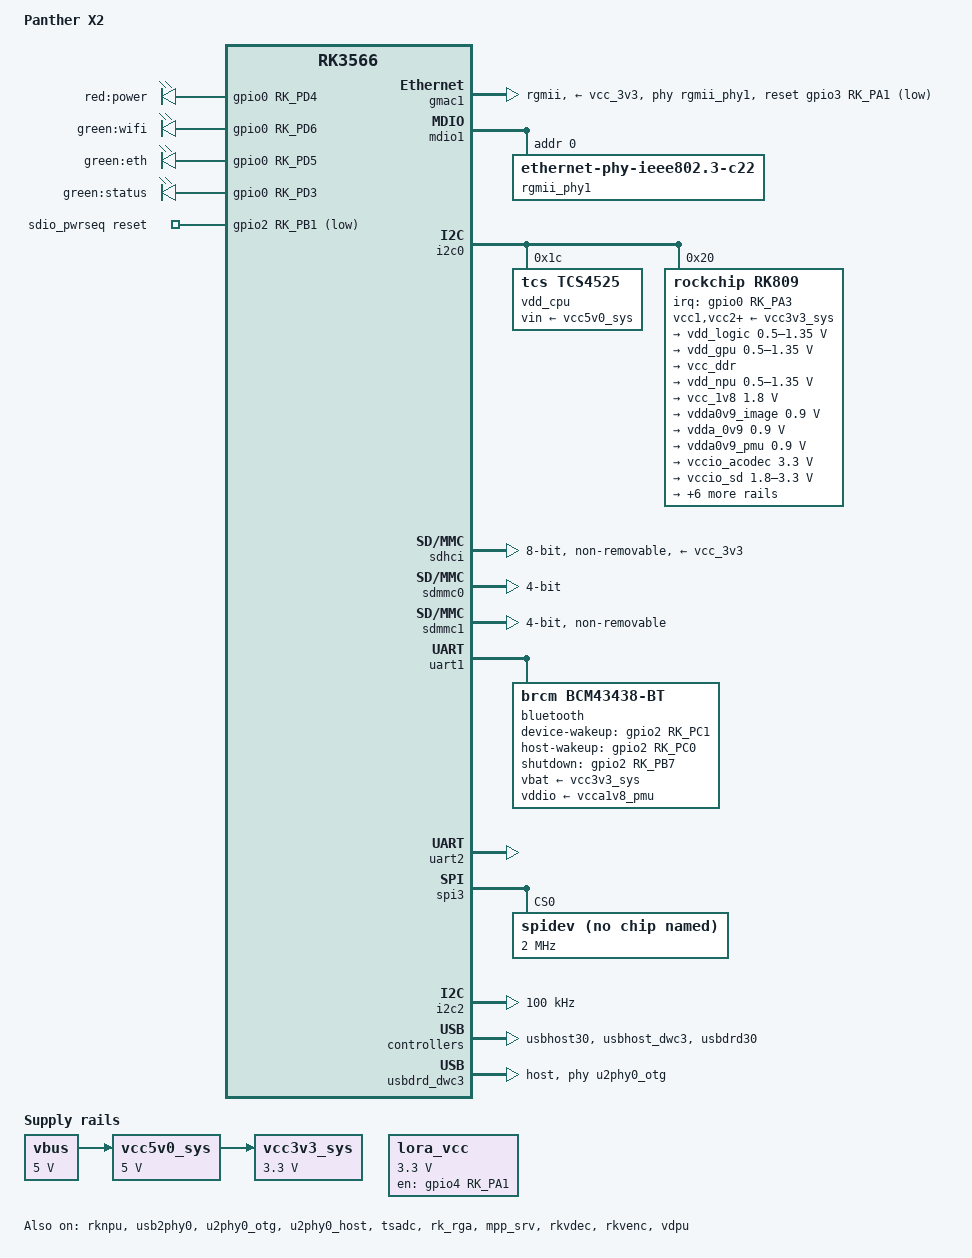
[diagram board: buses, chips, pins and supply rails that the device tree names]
// SPDX-License-Identifier: (GPL-2.0+ OR MIT)
/*
 * Panther X2 (Rockchip RK3566)
 *
 * Board description written against the Rockchip 5.10 BSP SoC bindings,
 * because the drivers backported into this 5.4 kernel are taken from that
 * BSP (vendor clock IDs, vendor pinctrl group names, RK3568 GRF offsets).
 * The mainline/armbian board file was used as the reference for the board
 * wiring (regulators, LEDs, SD, GMAC1, PMIC), and the GMAC1 numbers
 * (phy-mode/tx_delay/rx_delay) are the ones the vendor firmware actually
 * runs on this board.
 */

/dts-v1/;

#include <dt-bindings/gpio/gpio.h>
#include <dt-bindings/pinctrl/rockchip.h>
#include <dt-bindings/interrupt-controller/arm-gic.h>

#include "rk3566.dtsi"

/ {
	model = "Panther X2";
	compatible = "panther,x2", "rockchip,rk3566";

	aliases {
		/*
		 * Same mapping as the firmware that actually runs on this
		 * board: mmc0 = micro SD (sdmmc0), mmc1 = on-board eMMC
		 * (sdhci), mmc2 = WiFi SDIO (sdmmc1).  The eMMC therefore
		 * shows up as /dev/mmcblk1, which is what this box's current
		 * image uses for /boot (p1) and the rootfs (p2).
		 */
		mmc0 = &sdmmc0;
		mmc1 = &sdhci;
		mmc2 = &sdmmc1;
		serial2 = &uart2;
		/*
		 * gmac0/gmac1 keep their vendor aliases: the dwmac-rk glue
		 * derives its bus id from the "ethernet" alias and uses it to
		 * pick RK3568_GRF_GMAC1_* over RK3568_GRF_GMAC0_*.
		 */
		/delete-property/ ethernet0;
		/delete-property/ ethernet1;
		ethernet1 = &gmac1;

		led-boot = &led_status;
		led-failsafe = &led_status;
		led-running = &led_status;
		led-upgrade = &led_status;
	};

	chosen {
		stdout-path = "serial2:1500000n8";
	};

	leds {
		compatible = "gpio-leds";
		pinctrl-names = "default";
		pinctrl-0 = <&led_pwr_en>, <&led_wifi_en>,
			    <&led_eth_en>, <&led_status_en>;

		led_pwr: pwr {
			label = "red:power";
			gpios = <&gpio0 RK_PD4 GPIO_ACTIVE_HIGH>;
			default-state = "on";
		};

		led_wifi: wifi {
			label = "green:wifi";
			gpios = <&gpio0 RK_PD6 GPIO_ACTIVE_HIGH>;
		};

		led_eth: eth {
			label = "green:eth";
			gpios = <&gpio0 RK_PD5 GPIO_ACTIVE_HIGH>;
		};

		led_status: status {
			label = "green:status";
			gpios = <&gpio0 RK_PD3 GPIO_ACTIVE_HIGH>;
			linux,default-trigger = "heartbeat";
		};
	};

	vbus: vbus-regulator {
		compatible = "regulator-fixed";
		regulator-name = "vbus";
		regulator-always-on;
		regulator-boot-on;
		regulator-min-microvolt = <5000000>;
		regulator-max-microvolt = <5000000>;
	};

	vcc5v0_sys: vcc5v0-sys-regulator {
		compatible = "regulator-fixed";
		regulator-name = "vcc5v0_sys";
		regulator-always-on;
		regulator-boot-on;
		regulator-min-microvolt = <5000000>;
		regulator-max-microvolt = <5000000>;
		vin-supply = <&vbus>;
	};

	vcc3v3_sys: vcc3v3-sys-regulator {
		compatible = "regulator-fixed";
		regulator-name = "vcc3v3_sys";
		regulator-always-on;
		regulator-boot-on;
		regulator-min-microvolt = <3300000>;
		regulator-max-microvolt = <3300000>;
		vin-supply = <&vcc5v0_sys>;
	};

	sdio_pwrseq: sdio-pwrseq {
		compatible = "mmc-pwrseq-simple";
		clocks = <&rk809 1>;
		clock-names = "ext_clock";
		pinctrl-names = "default";
		pinctrl-0 = <&wifi_enable_h>;
		reset-gpios = <&gpio2 RK_PB1 GPIO_ACTIVE_LOW>;
		post-power-on-delay-ms = <100>;
	};
};

&cpu0 {
	cpu-supply = <&vdd_cpu>;
};

&cpu1 {
	cpu-supply = <&vdd_cpu>;
};

&cpu2 {
	cpu-supply = <&vdd_cpu>;
};

&cpu3 {
	cpu-supply = <&vdd_cpu>;
};

&gmac1 {
	/*
	 * Same combination the vendor firmware runs: the SoC applies both
	 * the TX and the RX delay (phy-mode "rgmii" keeps the RTL8211F's own
	 * delay programming out of the picture).
	 */
	phy-mode = "rgmii";
	clock_in_out = "input";
	assigned-clocks = <&cru SCLK_GMAC1_RX_TX>, <&cru SCLK_GMAC1_RGMII_SPEED>, <&cru SCLK_GMAC1>;
	assigned-clock-parents = <&cru SCLK_GMAC1_RGMII_SPEED>, <&cru SCLK_GMAC1>, <&gmac1_clkin>;
	phy-supply = <&vcc_3v3>;
	pinctrl-names = "default";
	pinctrl-0 = <&gmac1m0_miim
		     &gmac1m0_tx_bus2
		     &gmac1m0_rx_bus2
		     &gmac1m0_rgmii_clk
		     &gmac1m0_clkinout
		     &gmac1m0_rgmii_bus>;
	snps,reset-gpio = <&gpio3 RK_PA1 GPIO_ACTIVE_LOW>;
	snps,reset-active-low;
	/* Reset time is 20ms, 100ms for rtl8211f */
	snps,reset-delays-us = <0 20000 100000>;
	tx_delay = <0x30>;
	rx_delay = <0x10>;
	phy-handle = <&rgmii_phy1>;
	status = "okay";
};

&mdio1 {
	rgmii_phy1: ethernet-phy@0 {
		compatible = "ethernet-phy-ieee802.3-c22";
		reg = <0>;
	};
};

&i2c0 {
	status = "okay";

	vdd_cpu: regulator@1c {
		compatible = "tcs,tcs4525";
		reg = <0x1c>;
		fcs,suspend-voltage-selector = <1>;
		regulator-name = "vdd_cpu";
		regulator-min-microvolt = <800000>;
		regulator-max-microvolt = <1150000>;
		regulator-ramp-delay = <2300>;
		regulator-always-on;
		regulator-boot-on;
		vin-supply = <&vcc5v0_sys>;

		regulator-state-mem {
			regulator-off-in-suspend;
		};
	};

	rk809: pmic@20 {
		compatible = "rockchip,rk809";
		reg = <0x20>;
		interrupt-parent = <&gpio0>;
		interrupts = <RK_PA3 IRQ_TYPE_LEVEL_LOW>;
		#clock-cells = <1>;
		clock-output-names = "rk808-clkout1", "rk808-clkout2";
		pinctrl-names = "default";
		pinctrl-0 = <&pmic_int_l>;
		rockchip,system-power-controller;
		wakeup-source;

		vcc1-supply = <&vcc3v3_sys>;
		vcc2-supply = <&vcc3v3_sys>;
		vcc3-supply = <&vcc3v3_sys>;
		vcc4-supply = <&vcc3v3_sys>;
		vcc5-supply = <&vcc3v3_sys>;
		vcc6-supply = <&vcc3v3_sys>;
		vcc7-supply = <&vcc3v3_sys>;
		vcc8-supply = <&vcc3v3_sys>;
		vcc9-supply = <&vcc3v3_sys>;

		regulators {
			vdd_logic: DCDC_REG1 {
				regulator-name = "vdd_logic";
				regulator-always-on;
				regulator-boot-on;
				regulator-min-microvolt = <500000>;
				regulator-max-microvolt = <1350000>;
				regulator-init-microvolt = <900000>;
				regulator-ramp-delay = <6001>;
				regulator-initial-mode = <0x2>;

				regulator-state-mem {
					regulator-on-in-suspend;
					regulator-suspend-microvolt = <900000>;
				};
			};

			vdd_gpu: DCDC_REG2 {
				regulator-name = "vdd_gpu";
				regulator-always-on;
				regulator-boot-on;
				regulator-min-microvolt = <500000>;
				regulator-max-microvolt = <1350000>;
				regulator-init-microvolt = <900000>;
				regulator-ramp-delay = <6001>;
				regulator-initial-mode = <0x2>;

				regulator-state-mem {
					regulator-off-in-suspend;
				};
			};

			vcc_ddr: DCDC_REG3 {
				regulator-name = "vcc_ddr";
				regulator-always-on;
				regulator-boot-on;
				regulator-initial-mode = <0x2>;

				regulator-state-mem {
					regulator-on-in-suspend;
				};
			};

			vdd_npu: DCDC_REG4 {
				regulator-name = "vdd_npu";
				regulator-always-on;
				regulator-boot-on;
				regulator-min-microvolt = <500000>;
				regulator-max-microvolt = <1350000>;
				regulator-init-microvolt = <900000>;
				regulator-initial-mode = <0x2>;

				regulator-state-mem {
					regulator-off-in-suspend;
				};
			};

			vcc_1v8: DCDC_REG5 {
				regulator-name = "vcc_1v8";
				regulator-always-on;
				regulator-boot-on;
				regulator-min-microvolt = <1800000>;
				regulator-max-microvolt = <1800000>;

				regulator-state-mem {
					regulator-on-in-suspend;
					regulator-suspend-microvolt = <1800000>;
				};
			};

			vdda0v9_image: LDO_REG1 {
				regulator-name = "vdda0v9_image";
				regulator-always-on;
				regulator-boot-on;
				regulator-min-microvolt = <900000>;
				regulator-max-microvolt = <900000>;

				regulator-state-mem {
					regulator-on-in-suspend;
					regulator-suspend-microvolt = <900000>;
				};
			};

			vdda_0v9: LDO_REG2 {
				regulator-name = "vdda_0v9";
				regulator-always-on;
				regulator-boot-on;
				regulator-min-microvolt = <900000>;
				regulator-max-microvolt = <900000>;

				regulator-state-mem {
					regulator-off-in-suspend;
				};
			};

			vdda0v9_pmu: LDO_REG3 {
				regulator-name = "vdda0v9_pmu";
				regulator-always-on;
				regulator-boot-on;
				regulator-min-microvolt = <900000>;
				regulator-max-microvolt = <900000>;

				regulator-state-mem {
					regulator-on-in-suspend;
					regulator-suspend-microvolt = <900000>;
				};
			};

			vccio_acodec: LDO_REG4 {
				regulator-name = "vccio_acodec";
				regulator-always-on;
				regulator-boot-on;
				regulator-min-microvolt = <3300000>;
				regulator-max-microvolt = <3300000>;

				regulator-state-mem {
					regulator-off-in-suspend;
				};
			};

			vccio_sd: LDO_REG5 {
				regulator-name = "vccio_sd";
				regulator-always-on;
				regulator-boot-on;
				regulator-min-microvolt = <1800000>;
				regulator-max-microvolt = <3300000>;

				regulator-state-mem {
					regulator-off-in-suspend;
				};
			};

			vcc3v3_pmu: LDO_REG6 {
				regulator-name = "vcc3v3_pmu";
				regulator-always-on;
				regulator-boot-on;
				regulator-min-microvolt = <3300000>;
				regulator-max-microvolt = <3300000>;

				regulator-state-mem {
					regulator-on-in-suspend;
					regulator-suspend-microvolt = <3300000>;
				};
			};

			vcca_1v8: LDO_REG7 {
				regulator-name = "vcca_1v8";
				regulator-always-on;
				regulator-boot-on;
				regulator-min-microvolt = <1800000>;
				regulator-max-microvolt = <1800000>;

				regulator-state-mem {
					regulator-off-in-suspend;
				};
			};

			vcca1v8_pmu: LDO_REG8 {
				regulator-name = "vcca1v8_pmu";
				regulator-always-on;
				regulator-boot-on;
				regulator-min-microvolt = <1800000>;
				regulator-max-microvolt = <1800000>;

				regulator-state-mem {
					regulator-off-in-suspend;
				};
			};

			vcca1v8_image: LDO_REG9 {
				regulator-name = "vcca1v8_image";
				regulator-always-on;
				regulator-boot-on;
				regulator-min-microvolt = <1800000>;
				regulator-max-microvolt = <1800000>;

				regulator-state-mem {
					regulator-off-in-suspend;
				};
			};

			vcc_3v3: SWITCH_REG1 {
				regulator-name = "vcc_3v3";
				regulator-always-on;
				regulator-boot-on;

				regulator-state-mem {
					regulator-off-in-suspend;
				};
			};

			vcc3v3_sd: SWITCH_REG2 {
				regulator-name = "vcc3v3_sd";
				status = "disabled";

				regulator-state-mem {
					regulator-on-in-suspend;
				};
			};
		};
	};
};

&pinctrl {
	sdio-pwrseq {
		wifi_enable_h: wifi-enable-h {
			rockchip,pins = <2 RK_PB1 RK_FUNC_GPIO &pcfg_pull_none>;
		};
	};

	leds {
		led_pwr_en: led-pwr-en {
			rockchip,pins = <0 RK_PD4 RK_FUNC_GPIO &pcfg_pull_none>;
		};

		led_wifi_en: led-wifi-en {
			rockchip,pins = <0 RK_PD6 RK_FUNC_GPIO &pcfg_pull_none>;
		};

		led_eth_en: led-eth-en {
			rockchip,pins = <0 RK_PD5 RK_FUNC_GPIO &pcfg_pull_none>;
		};

		led_status_en: led-status-en {
			rockchip,pins = <0 RK_PD3 RK_FUNC_GPIO &pcfg_pull_none>;
		};
	};

	pmic {
		pmic_int_l: pmic-int-l {
			rockchip,pins = <0 RK_PA3 RK_FUNC_GPIO &pcfg_pull_up>;
		};
	};

	bt {
		bt_enable_h: bt-enable-h {
			rockchip,pins = <2 RK_PB7 RK_FUNC_GPIO &pcfg_pull_none>;
		};

		bt_host_wake_l: bt-host-wake-l {
			rockchip,pins = <2 RK_PC0 RK_FUNC_GPIO &pcfg_pull_none>;
		};

		bt_wake_l: bt-wake-l {
			rockchip,pins = <2 RK_PC1 RK_FUNC_GPIO &pcfg_pull_none>;
		};
	};
};

&pmu_io_domains {
	status = "okay";
	pmuio1-supply = <&vcc3v3_pmu>;
	pmuio2-supply = <&vcc3v3_pmu>;
	vccio1-supply = <&vcc_3v3>;
	vccio2-supply = <&vcc_1v8>;
	vccio3-supply = <&vccio_sd>;
	vccio4-supply = <&vcc_1v8>;
	vccio5-supply = <&vcc_3v3>;
	vccio6-supply = <&vcc_3v3>;
	vccio7-supply = <&vcc_3v3>;
};

&sdhci {
	bus-width = <8>;
	no-sd;
	no-sdio;
	non-removable;
	mmc-hs200-1_8v;
	vmmc-supply = <&vcc_3v3>;
	vqmmc-supply = <&vcc_1v8>;
	status = "okay";
};

&sdmmc0 {
	/*
	 * The microSD slot works as a card slot - firmware must keep it enabled,
	 * because the same image also runs on boards whose slot is fine.  On this
	 * particular unit the slot itself is dead (the card reads fine in a USB
	 * reader, yet the slot never answers; U-Boot and Linux both report "Card
	 * did not respond to voltage select"), so no card is ever detected here,
	 * but nothing about that justifies disabling the controller.
	 *
	 * broken-cd because no card-detect pin is wired: the kernel polls.
	 */
	broken-cd;
	bus-width = <4>;
	cap-sd-highspeed;
	disable-wp;
	pinctrl-names = "default";
	pinctrl-0 = <&sdmmc0_bus4 &sdmmc0_clk &sdmmc0_cmd &sdmmc0_det>;
	vqmmc-supply = <&vccio_sd>;
	status = "okay";
};

&sdmmc1 {
	bus-width = <4>;
	cap-sd-highspeed;
	cap-sdio-irq;
	keep-power-in-suspend;
	disable-wp;
	non-removable;
	mmc-pwrseq = <&sdio_pwrseq>;
	pinctrl-names = "default";
	pinctrl-0 = <&sdmmc1_bus4 &sdmmc1_clk &sdmmc1_cmd>;
	status = "okay";
};

&uart1 {
	pinctrl-names = "default";
	pinctrl-0 = <&uart1m0_xfer &uart1m0_ctsn &uart1m0_rtsn>;
	status = "okay";

	/*
	 * AP6212A1 module: BCM43430A1 on UART1 with the usual flow control and
	 * wake lines.  Only hci_bcm.c matches this compatible, so the kernel
	 * needs CONFIG_BT_HCIUART_BCM (see armv8/config-5.4, where the whole BT
	 * core + UART/BCM glue is built in so that no module dependency on
	 * btbcm.ko is left for kmod-bluetooth to trip over), plus the firmware
	 * that is vendored next to this board's files:
	 * brcm/BCM43430A1.hcd is uploaded by btbcm at probe time.
	 */
	bluetooth {
		compatible = "brcm,bcm43438-bt";
		clocks = <&rk809 1>;
		clock-names = "lpo";
		device-wakeup-gpios = <&gpio2 RK_PC1 GPIO_ACTIVE_HIGH>;
		host-wakeup-gpios = <&gpio2 RK_PC0 GPIO_ACTIVE_HIGH>;
		shutdown-gpios = <&gpio2 RK_PB7 GPIO_ACTIVE_HIGH>;
		max-speed = <1500000>;
		pinctrl-names = "default";
		pinctrl-0 = <&bt_host_wake_l &bt_wake_l &bt_enable_h>;
		vbat-supply = <&vcc3v3_sys>;
		vddio-supply = <&vcca1v8_pmu>;
	};
};

&uart2 {
	status = "okay";
};

/*
 * USB (u2phy0 / u2phy0_host, plus the USB3 host behind it) is intentionally
 * left disabled for now: this kernel's phy-rockchip-inno-usb2 has no RK3568
 * support yet, so leaving the controllers enabled would only produce
 * deferred probes at boot.  Both USB ports are host-only on this board and
 * nothing on the boot or network path depends on them.
 */

/*
 * NPU (RK3566, 0.8 TOPS).  The vendor driver is back-ported to this 5.4
 * kernel with two deliberate limitations, both reflected here:
 *
 *  - no IOMMU: the vendor rknpu_iommu.c builds on the DMA-IOMMU internals
 *    that Rockchip patches into their 5.10 tree; mainline 5.4 has none of
 *    them.  The driver therefore runs in its non-IOMMU mode, so the "iommus"
 *    phandle is dropped here and the MMU node stays disabled.
 *  - no DVFS: the vendor OPP/leakage/pvtpll framework is not part of the
 *    port, so no operating-points table is referenced and the NPU keeps the
 *    clock rate the SoC dtsi assigns (600 MHz) with vdd_npu as a fixed rail.
 *
 * The NPU power domain (VD_NPU, "rockchip,rk3568-power-controller") IS used:
 * the pm-domain driver now carries the upstream v5.15/v5.16 rk3568 domain
 * table (domain id 6, pwr/idle/ack bits from the upstream implementation only,
 * no vendor BSP data) and the PMU bus clock (PCLK_PMU/CLK_PMU) is registered
 * as CLK_IS_CRITICAL by clk-rk3568.c, so the PMU registers are reachable when
 * the driver probes at postcore_initcall.  The domain is therefore referenced
 * here so the NPU is held powered while the driver is bound.
 *
 * The SCMI clock from the vendor dtsi is dropped as well - this kernel has no
 * SCMI clock driver - which leaves the three CRU clocks.
 */
&rknpu {
	/delete-property/ iommus;
	/delete-property/ operating-points-v2;
	power-domains = <&power RK3568_PD_NPU>;
	clocks = <&cru CLK_NPU>, <&cru ACLK_NPU>, <&cru HCLK_NPU>;
	clock-names = "clk", "aclk", "hclk";
	rknpu-supply = <&vdd_npu>;
	status = "okay";
};

/*
 * LoRa concentrator (Semtech SX1302 + SX1250) and the SHT2x temperature /
 * humidity sensor that sits on the same add-on card.
 *
 * The concentrator hangs off SPI3, chip select 0, and only answers when the
 * controller uses its m0 pin group - with m1 selected it reads back 0xff.
 * The SoC dtsi already defaults to m0, it is spelled out here so that a
 * future dtsi change cannot silently break the card.  spidev is all the
 * userspace packet forwarder needs, so no in-kernel driver is involved.
 *
 * The module's power enable (GPIO4_1) and reset (GPIO3_24) lines are driven
 * by the HAL's reset script, exactly like on the reference bring-up, so they
 * are not described in the DT.
 *
 * The sensor is on i2c2 and only answers after the module has been powered;
 * i2c2 needs the m1 pin group, which the SoC dtsi does not select.
 */
&spi3 {
	status = "okay";
	pinctrl-names = "default";
	pinctrl-0 = <&spi3m0_pins>, <&spi3m0_cs0>;
	num-cs = <1>;

	spidev@0 {
		compatible = "rohm,dh2228fv";
		reg = <0>;
		spi-max-frequency = <2000000>;
		/* the pad must be GPIO for the HAL's reset script to drive it */
		pinctrl-names = "default";
		pinctrl-0 = <&lora_reset>;
	};
};

&i2c2 {
	status = "okay";
	clock-frequency = <100000>;
	pinctrl-names = "default";
	pinctrl-0 = <&i2c2m1_xfer>;
};

/*
 * Power the LoRa concentrator add-on card at boot.
 *
 * The SX1302/SX1250 card stays invisible until its POWER_EN line goes high
 * (no SX1302 on SPI3, and no SHT2x on i2c2 either - that sensor sits on the
 * card too), and driving it from userspace through /sys/class/gpio does not
 * work: the write is accepted but the pad never moves, because it is not muxed
 * as GPIO.
 *
 * A gpio-hog was tried first and had to be dropped: the hog is claimed while
 * gpio4 is still being registered, which fails with -EPROBE_DEFER and then
 * spins (gpio4 never registers, the hog retries forever) - the kernel wedged
 * at 0.27s with
 *   requesting hog GPIO lora-power-en (chip gpio4, offset 1) failed, -517
 *   gpiochip_add_data_with_key: GPIOs 288..319 (gpio4) failed to register, -517
 *
 * Modelling the line as an always-on fixed regulator instead is both correct
 * and safe: the regulator core enables it during probe, which also applies the
 * pinmux below, and nobody has to request the gpio during gpiochip setup.
 *
 * RESET (GPIO3_24) is deliberately left alone: the HAL's reset script drives
 * it, and holding it deasserted here would take the line away from that script.
 */
&pinctrl {
	lora {
		lora_power_en: lora-power-en {
			rockchip,pins = <4 RK_PA1 RK_FUNC_GPIO &pcfg_output_high>;
		};
		lora_reset: lora-reset {
			rockchip,pins = <3 RK_PD0 RK_FUNC_GPIO &pcfg_output_low>;
		};
	};
};

&{/} {
	lora_vcc: lora-vcc {
		compatible = "regulator-fixed";
		regulator-name = "lora_vcc";
		regulator-min-microvolt = <3300000>;
		regulator-max-microvolt = <3300000>;
		gpio = <&gpio4 RK_PA1 GPIO_ACTIVE_HIGH>;
		enable-active-high;
		regulator-boot-on;
		regulator-always-on;
		pinctrl-names = "default";
		pinctrl-0 = <&lora_power_en>;
		startup-delay-us = <100000>;
	};
};

/*
 * USB.  The SoC nodes are disabled in the dtsi and this kernel's
 * phy-rockchip-inno-usb2 had no RK3568 support, which is why patch 313 adds the
 * RK3568 PHY configuration.
 *
 * Exactly the reference board configuration is enabled here - PHY0, its OTG
 * port and the USB3/XHCI host controller.  The reference does NOT enable the
 * USB2 host controllers (ehci/ohci) or PHY1 at all, and enabling them made the
 * board reboot a minute into the boot (only the xhci/otg path is wired on this
 * board), so they stay disabled.
 */
&usb2phy0 {
	status = "okay";
};

&u2phy0_otg {
	/*
	 * Upstream layout (030-v5.17 arm64 dts rk3568 usb2 nodes + 034-v5.17
	 * muxed interrupts): the one shared phy interrupt is declared on the
	 * usb2-phy@fe8a0000 node itself (GIC_SPI 135, see rk3568.dtsi) and the
	 * port sub-nodes carry no interrupts at all.  The driver requests that
	 * single muxed irq once from the phy node and fans it out to the otg
	 * and host port of this phy, so naming it again on the ports is wrong
	 * and was only a workaround for the old per-port linestate lookup.
	 */
	status = "okay";
};

/* the dwc3 in usbhost30 names the *host* port of phy0 as its usb2-phy */
&u2phy0_host {
	status = "okay";
};

&usbhost30 {
	status = "okay";
};

/*
 * usbhost30's inner dwc3 also names <&combphy1_usq PHY_TYPE_USB3> as its usb3
 * phy.  combphy0_us is deleted by rk3566.dtsi (that instance does not exist on
 * this SoC), combphy1_usq does exist, so it has to be enabled too - otherwise
 * the controller binds but never registers its root hub.
 */
&{/syscon@fdc80000} {
	status = "okay";
};

&{/phy@fe830000} {
	status = "okay";
};



&usb2phy0 {
	status = "okay";
};

/*
 * The DWC3 core inside usbhost30 has its own status property (disabled in the
 * dtsi), which enabling the glue node does not touch - that is why the
 * controller never registered a root hub even though its phy was up.
 *
 * power-domains stays dropped: PD_PIPE is now resolvable (the rk3568
 * power-domain driver is in place and the SoC dtsi defines the domain), but
 * the USB3 path is kept exactly as it was validated - the DWC3 core does not
 * need the genpd link, PD_PIPE is powered on unconditionally by the pm-domain
 * probe anyway, and re-attaching the core to it is a separate change.
 */
&usbhost_dwc3 {
	/delete-property/ power-domains;
	status = "okay";
};

/*
 * The Type-C port is the OTG controller (usbdrd30 / usbdrd_dwc3), which the
 * reference configuration drives as a plain host.  Its core node is disabled
 * on its own, names a combphy0_us that rk3566.dtsi deletes, defaults to
 * dr_mode = "otg" (which would present the port as a device) and references
 * PD_PIPE, which is left detached here for the same reason as usbhost_dwc3
 * above (see the note there).
 */
&usbdrd30 {
	status = "okay";
};

&usbdrd_dwc3 {
	dr_mode = "host";
	/* keep the U2 suspend-phy logic out of the picture: with it enabled the
	 * port fails to re-detect a device after the first disconnect
	 * (dmesg: usb usb1-port1: connect-debounce failed) */
	snps,dis_u2_susphy_quirk;
	/* the USB-A port only has USB2 data lines; without this the controller
	 * negotiates a SuperSpeed link on every connect and the connect
	 * debounce fails (vendor DTS has exactly this line) */
	maximum-speed = "high-speed";
	quirk-skip-phy-init;
	phys = <&u2phy0_otg>;
	phy-names = "usb2-phy";
	/delete-property/ power-domains;
	status = "okay";
};

/*
 * The vendor dtsi leaves the SoC temperature sensor (tsadc@fe710000) disabled,
 * which is why thermal_zone0 had no sensor bound and LuCI showed NaN.  The
 * driver is built in and supports rk3568, so the node only has to be enabled.
 * (rk3328 works out of the box because its dtsi defaults to okay.)
 */
&tsadc {
	status = "okay";
};

/*
 * Enable the RGA2 2D acceleration core.  The SoC dtsi keeps rk_rga disabled;
 * pd_rga (RK3568_PD_RGA) is now available, so the core can attach to its
 * power domain and probe.  The MPP video nodes are enabled in their own block
 * further down.
 */
&rk_rga {
	status = "okay";
};

/*
 * RK3568 video codecs (H.264/H.265/VP9 decode via rkvdec2, H.264/H.265 encode
 * via rkvenc) and the MPP service that owns /dev/mpp_service.
 *
 * These nodes were left disabled for the same reason rk_rga was: powering a
 * domain on this board used to take an asynchronous external abort.  That was
 * a bug in the pm-domain driver, not in the domains: rockchip_pd_power()
 * restored QoS on the very first power-on - writing a zeroed save area to a
 * QoS block that is not reachable yet - and the domain loop also walked
 * table holes (name == NULL).  patches-5.4/324 fixes both, which is what made
 * pd_rga and pd_npu usable; pd_rkvdec/pd_rkvenc use the same code path and the
 * same DOMAIN_RK3568() table entries from patches-5.4/315.
 *
 * The iommus property is DELETED on all three codec nodes below, and that is
 * what lets the codec devices probe at all: the vendored rkvdec2/vdpu/venc
 * drivers are written against the vendor iommu glue and cannot run iommu-less
 * cleanly, while with the iommus phandle kept the three IOMMU nodes have to be
 * enabled too - and that combination made this board reboot in a loop, so it
 * is not an option.  Without iommus, mpp_iommu_probe() only logs
 * "failed to attach iommu" and still returns success, so mpp->iommu_info ends
 * up NULL.  rkvdec2_alloc_rcbbuf() then dereferences dec->mpp.iommu_info
 * (NULL + 0x40) and the kernel oopses at boot.  That single dereference is
 * contained by a kernel patch instead of by DT wiring:
 * patches-5.4/326-rockchip-rkvdec2-rcb-iommu-guard.patch makes
 * rkvdec2_alloc_rcbbuf() return -ENODEV when iommu_info is NULL, so no rcb
 * buffer is set up and the codec simply stays unusable instead of crashing.
 *
 * rkvenc still deletes its iommus property, but rkvdec is a deliberate
 * exception: its link/CCU path needs the contiguous 64 KiB IOVA window
 * described at the &rkvdec block below, so rkvdec_mmu is enabled in this file
 * (rkvenc_mmu keeps the "disabled" status it has in rk3568.dtsi).
 */
&mpp_srv {
	status = "okay";
};

/*
 * rkvdec2 (this node) drives the H.264 link/CCU path.  Its rcb buffer must be
 * a contiguous 64 KiB IOVA window: in the vendor design the 45056-byte SRAM
 * is followed by a mapped page (~65536 bytes total), which only the IOMMU can
 * present as one contiguous IOVA range - the SRAM and the neighbouring
 * pmucru window cannot be concatenated physically.
 *
 * With iommus deleted (the old workaround) rcb fell into the no-iommu
 * physical-memory branch added by patches-5.4/326, the hardware did not accept
 * it and every task timed out and was force-dequeued (mpp_rkvdec2 ... task N
 * timeout ... force_dequeue 1 / resetting).  Attaching rkvdec to rkvdec_mmu
 * (enabled just below) gives the link/CCU the contiguous 64 KiB IOVA it
 * needs.  The IOMMU v2 backend this requires (compatible "rockchip,iommu-v2")
 * comes from patches-5.4/327.
 */
&rkvdec {
	status = "okay";
};

&rkvdec_mmu {
	status = "okay";
};

&rkvenc {
	/delete-property/ iommus;
	status = "okay";
};

/*
 * vdpu@fdea0400 - the VDPU34x core (compatible "rockchip,vpu-decoder-v2",
 * driven by mpp_vdpu2.c inside rk_vcodec.ko).  On rk3566 H.264 is decoded by
 * this block, rkvdec2 above is the HEVC/VP9 core, so H.264 needs this one as
 * well as mpp-srv.  Its power domain is pd_vpu, enabled in rk3568.dtsi.
 *
 * Unlike rkvdec/rkvenc above, vdpu keeps its "iommus" phandle so it is attached
 * to vdpu_mmu: on this kernel the H.264 core produces zero frames without
 * address translation and it has no iommu-less fallback.  The MMU nodes in
 * rk3568.dtsi use compatible "rockchip,iommu-v2", which the 5.4 driver did not
 * recognise, so the master sat in a permanent -EPROBE_DEFER and the board never
 * finished booting.  patches-5.4/327-rockchip-iommu-v2.patch adds the v2
 * (rk3568) backend to the driver (v2 DTE/PTE bit layout, 40-bit DMA mask, no
 * GFP_DMA32) and is the precondition for this wiring.
 *
 * The blast radius is kept to the two decode cores: vdpu stays attached to
 * vdpu_mmu, rkvdec now attaches to rkvdec_mmu (enabled at the &rkvdec block
 * above) because its link/CCU path needs contiguous IOMMU IOVA, and rkvenc
 * stays iommu-less (see 326) with rkvenc_mmu keeping the "disabled" status it
 * has in rk3568.dtsi.
 */
&vdpu {
	status = "okay";
};

&vdpu_mmu {
	status = "okay";
};
